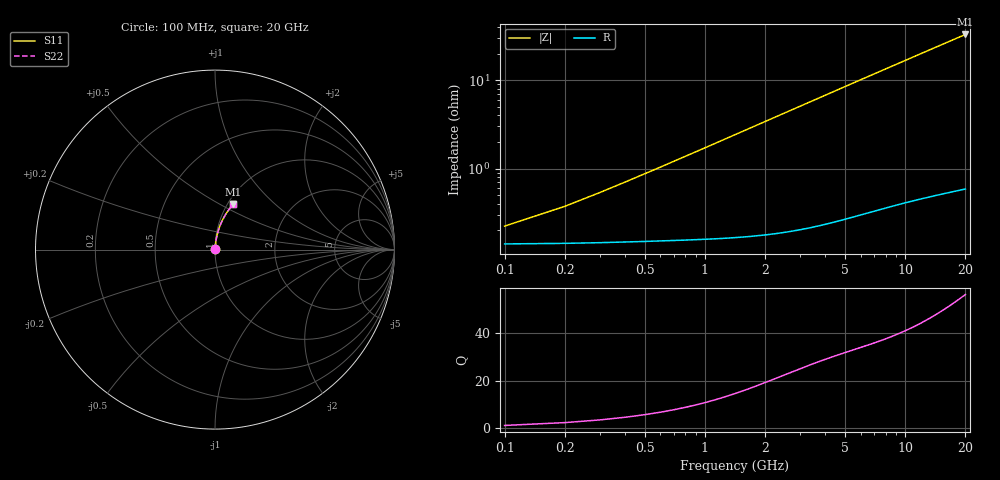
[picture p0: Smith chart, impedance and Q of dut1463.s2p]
! Touchstone file exported from HFSS 2026.1.0
!  File:  C:/ffzhzh/LocalFiles/Ansys_Project_Files/temp_train_TMRDL_1463_1783167389_22436.aedt
!  Generated:  08:17:41 PM Jul  4, 2026
!  Design:  TMRDL
!  Project:  temp_train_TMRDL_1463_1783167389_22436
! Variables:
!  h_bsmrdl = 2um
!  h_ox = 20um
!  h_rdl = 5um
!  h_sub = 80um
!  h_tmrdl = 4.99um
!  h_tsv = 80um
!  h_via = 3um
!  l_bsmrdl = 300um
!  l_sub = 606.91um
!  l_tmrdl = 206.91um
!  m_sub = 200um
!  pitch = 59.23um
!  r_tsv = 6um
!  s_tmrdl = 10um
!  w_bsmrdl = 18um
!  w_sub = 500um
!  w_tmrdl = 11.18um
!  x_tsv_center1 = 212.5um
!  x_tsv_center2 = 530.5um
!  x_tsv_center3 = 748.59um
!  x_tsv_center4 = 1066.59um
!  x_tsv_center5 = 1284.68um
!  x_tsv_center6 = 1602.68um
# GHz S MA R 50.000000
! Terminal data exported
! Port[1] = TM_RDL1_1_T1
! Port[2] = TM_RDL1_1_T2
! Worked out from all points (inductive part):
!   200 points, 100 MHz to 20 GHz, reference 50 ohm
!   read as one part in series: L = 275 pH near 300 MHz
!   highest Q = 55.9 at 20 GHz (marker M1), where L = 262 pH
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0.1  0.002072 47.1  0.9986 -0.1  0.9986 -0.1  0.002072 47.1
! Gamma 0 0 0 0
! Port Impedance 50 0 50 0
0.2  0.003351 64.5  0.9986 -0.2  0.9986 -0.2  0.003351 64.5
0.3  0.004757 71.9  0.9985 -0.3  0.9985 -0.3  0.004757 71.9
0.4  0.006198 75.8  0.9985 -0.4  0.9985 -0.4  0.006198 75.8
0.5  0.007652 78.1  0.9985 -0.6  0.9985 -0.6  0.007652 78.1
0.7  0.01058 80.9  0.9984 -0.8  0.9984 -0.8  0.01058 80.9
0.8  0.01205 81.7  0.9984 -0.9  0.9984 -0.9  0.01205 81.7
1  0.015 82.8  0.9983 -1.1  0.9983 -1.1  0.015 82.8
1.2  0.01795 83.5  0.9982 -1.3  0.9982 -1.3  0.01795 83.5
1.4  0.0209 83.9  0.9981 -1.5  0.9981 -1.5  0.0209 83.9
1.7  0.02532 84.3  0.998 -1.9  0.998 -1.9  0.02532 84.3
2  0.02974 84.4  0.9978 -2.2  0.9978 -2.2  0.02974 84.4
2.7  0.04003 84.2  0.9972 -3.0  0.9972 -3.0  0.04003 84.2
3.5  0.05172 83.7  0.9965 -3.8  0.9965 -3.8  0.05172 83.7
4.2  0.06187 83.2  0.9957 -4.6  0.9957 -4.6  0.06187 83.2
5  0.0734 82.5  0.9946 -5.5  0.9946 -5.5  0.0734 82.5
6.8  0.09903 80.8  0.9919 -7.4  0.9919 -7.4  0.09903 80.8
8.3  0.1201 79.3  0.9891 -9.0  0.9891 -9.0  0.1201 79.3
10.1  0.145 77.5  0.9854 -10.9  0.9854 -10.9  0.145 77.5
13.4  0.1895 74.3  0.9772 -14.3  0.9772 -14.3  0.1895 74.3
16.7  0.2326 71.1  0.9674 -17.6  0.9674 -17.6  0.2326 71.1
20  0.2738 67.9  0.9562 -20.9  0.9562 -20.9  0.2738 67.9
